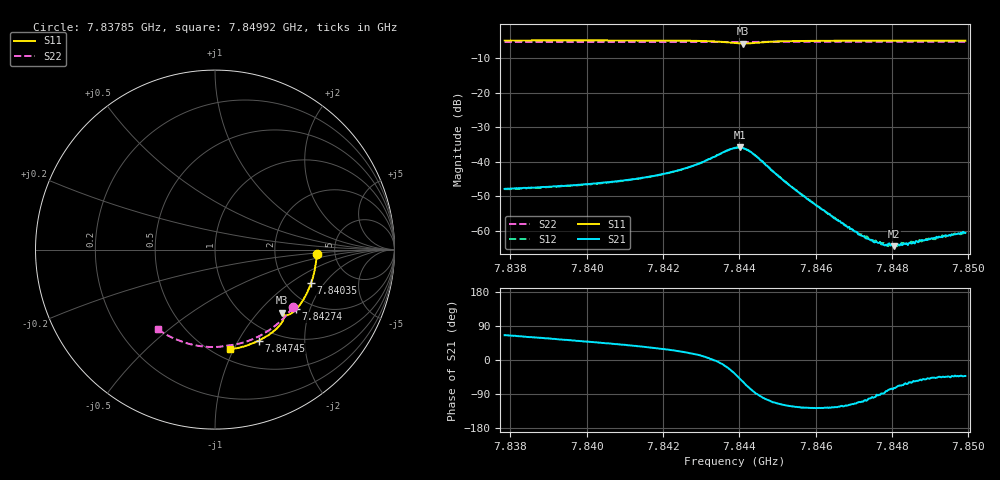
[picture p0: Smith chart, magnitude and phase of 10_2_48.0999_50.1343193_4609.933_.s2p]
#  HZ  S  RI  R  50.00
! Rohde & Schwarz Vector Network Analyzer
! Rohde-Schwarz,ZNB20-2Port,1311601062101988,3.16
! Created: UTC 12/23/2023, 3:35:34 AM
! freq[Hz]  re:S11  im:S11  re:S21  im:S21  re:S12  im:S12  re:S22  im:S22
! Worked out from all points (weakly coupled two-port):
!   401 points, 7.83785 GHz to 7.84992 GHz, reference 50 ohm
!   highest |S21| = -35.85 dB at 7.84401 GHz (marker M1); lowest = -64.4 dB at 7.84805 GHz (marker M2)
!   lowest |S11| = -5.8 dB at 7.8441 GHz (marker M3), VSWR 3.09, Z = 71.1 - j67.7 ohm
!   |S11| at or under -10 dB: nowhere
!   |S22| runs from -5.4 to -5.3 dB; largest |S21 - S12| = 0.00033
!   S11 on the Smith chart (normalised r, x): 7.83785 GHz: 3.60, -0.23; 7.84035 GHz: 2.71, -1.49; 7.84274 GHz: 1.67, -1.62; 7.84745 GHz: 0.82, -1.22; 7.84992 GHz: 0.60, -0.97
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7.83785e9  0.5663 -0.0219  0.00168 0.00368  0.00167 0.00362  0.4345 -0.3205
7.839872e9  0.5455 -0.1551  0.00301 0.00356  0.00297 0.00353  0.3372 -0.4229
7.840355e9  0.5355 -0.1862  0.00343 0.00354  0.0034 0.00347  0.3099 -0.4433
7.841893e9  0.4902 -0.2821  0.00559 0.00326  0.00552 0.00328  0.2161 -0.4966
7.842738e9  0.4526 -0.3318  0.00817 0.00255  0.00812 0.00255  0.1603 -0.5172
7.843432e9  0.4067 -0.3645  0.0125 -0.00098  0.0125 -0.000929  0.1127 -0.5288
7.843885e9  0.3729 -0.361  0.0128 -0.00946  0.0126 -0.00936  0.0825 -0.5328
7.844005e9  0.3702 -0.3554  0.0106 -0.0122  0.0107 -0.0119  0.0748 -0.5335
7.844096e9  0.3711 -0.3518  0.00847 -0.0133  0.00835 -0.0132  0.0694 -0.5344
7.844337e9  0.3804 -0.3536  0.00216 -0.0131  0.00225 -0.0132  0.054 -0.5372
7.845212e9  0.3679 -0.4129  -0.0025 -0.00437  -0.00248 -0.00445  -0.00704 -0.5429
7.845906e9  0.3328 -0.4498  -0.00153 -0.00208  -0.00153 -0.00209  -0.056 -0.5408
7.846751e9  0.2849 -0.4845  -0.000636 -0.00104  -0.000609 -0.00104  -0.1148 -0.532
7.847173e9  0.2598 -0.4989  -0.000311 -0.000804  -0.000296 -0.000836  -0.1438 -0.5253
7.847445e9  0.2435 -0.5074  -0.000136 -0.00073  -0.000139 -0.000714  -0.1621 -0.5202
7.847807e9  0.2212 -0.5177  4.21e-05 -0.000615  2.29e-05 -0.000634  -0.1862 -0.5121
7.847928e9  0.2138 -0.521  0.000141 -0.000645  0.000127 -0.000625  -0.1941 -0.5094
7.848048e9  0.2064 -0.524  0.000169 -0.000577  0.00015 -0.000593  -0.2022 -0.5063
7.848229e9  0.1949 -0.5282  0.00025 -0.000602  0.000254 -0.000626  -0.2138 -0.5015
7.848471e9  0.1796 -0.5337  0.000349 -0.000577  0.000339 -0.000577  -0.2294 -0.4947
7.849165e9  0.1351 -0.5465  0.000562 -0.000599  0.000557 -0.000574  -0.2728 -0.4728
7.849919e9  0.0856 -0.5562  0.000692 -0.000627  0.000726 -0.000634  -0.3177 -0.4444
